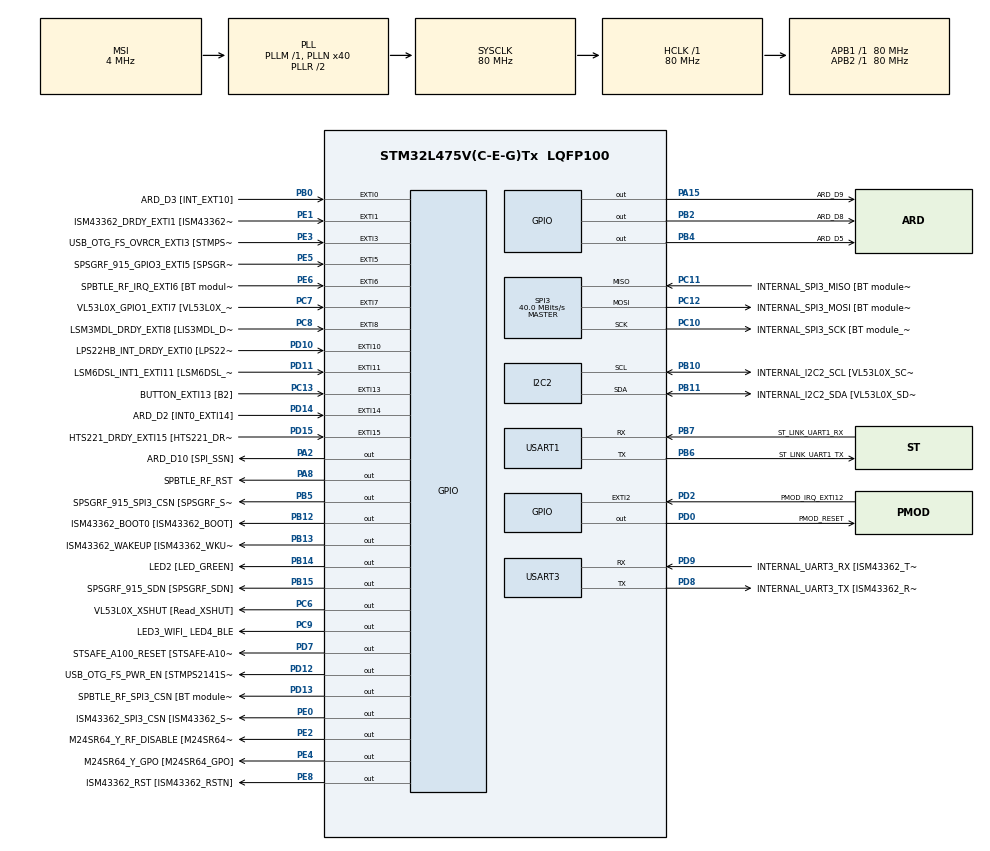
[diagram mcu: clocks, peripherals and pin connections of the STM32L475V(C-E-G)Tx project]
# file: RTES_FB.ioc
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FREERTOS.BinarySemaphores01=userButtonInterruptSemaphore,Dynamic,NULL
FREERTOS.INCLUDE_uxTaskGetStackHighWaterMark=1
FREERTOS.INCLUDE_vTaskDelay=1
FREERTOS.INCLUDE_vTaskDelayUntil=1
FREERTOS.Mutexes01=managerMutex,Dynamic,NULL
FREERTOS.Tasks01=greenLightTask,0,160,startGreenLightTask,Default,NULL,Dynamic,NULL,NULL;trackDataPrintTask,0,192,startTrackDataPrintTask,Default,NULL,Dynamic,NULL,NULL;userButtonTask,0,128,startUserButtonTask,Default,NULL,Dynamic,NULL,NULL;proximitySensorTask,0,176,startProximitySensorTask,Default,NULL,Dynamic,NULL,NULL;raceDataPrintTask,0,160,startRaceDataPrintTask,Default,NULL,Dynamic,NULL,NULL;accelerometerTask,0,160,startAccelerometerTask,Default,NULL,Dynamic,NULL,NULL;temperatureSensorTask,-1,176,startTemperatureSensorTask,Default,NULL,Dynamic,NULL,NULL;humiditySensorTask,-1,176,startHumiditySensorTask,Default,NULL,Dynamic,NULL,NULL;pressureSensorTask,-1,176,startPressureSensorTask,Default,NULL,Dynamic,NULL,NULL;buttonInterruptTask,0,128,startButtonInterruptTask,Default,NULL,Dynamic,NULL,NULL
FREERTOS.configENABLE_FPU=0
FREERTOS.configMAX_TASK_NAME_LEN=32
FREERTOS.configMINIMAL_STACK_SIZE=128
FREERTOS.configTOTAL_HEAP_SIZE=16384
FREERTOS.configUSE_COUNTING_SEMAPHORES=0
FREERTOS.configUSE_NEWLIB_REENTRANT=1
I2C2.Timing=0x10909CEC
Mcu.Family=STM32L4
Mcu.Name=STM32L475V(C-E-G)Tx
Mcu.Package=LQFP100
NVIC.EXTI15_10_IRQn=true\:5\:0\:false\:false\:true\:true\:true\:true
NVIC.EXTI9_5_IRQn=true\:5\:0\:false\:false\:true\:true\:true\:true
NVIC.PriorityGroup=NVIC_PRIORITYGROUP_4
NVIC.TIM6_DAC_IRQn=true\:15\:0\:false\:false\:true\:false\:false\:true
NVIC.TimeBase=TIM6_DAC_IRQn
NVIC.TimeBaseIP=TIM6
PA0.GPIO_Label=ARD_D1 [UART4_TX]
PA0.Signal=UART4_TX
PA1.GPIO_Label=ARD_D0 [UART4_RX]
PA1.Signal=UART4_RX
PA10.GPIO_Label=USB_OTG_FS_ID
PA10.Signal=USB_OTG_FS_ID
PA11.GPIO_Label=USB_OTG_FS_DM
PA11.Signal=USB_OTG_FS_DM
PA12.GPIO_Label=USB_OTG_FS_DP
PA12.Signal=USB_OTG_FS_DP
PA13\ (JTMS-SWDIO).GPIO_Label=SYS_JTMS_SWDIO
PA13\ (JTMS-SWDIO).Mode=Serial_Wire
PA13\ (JTMS-SWDIO).Signal=SYS_JTMS-SWDIO
PA14\ (JTCK-SWCLK).GPIO_Label=SYS_JTCK_SWCLK
PA14\ (JTCK-SWCLK).Mode=Serial_Wire
PA14\ (JTCK-SWCLK).Signal=SYS_JTCK-SWCLK
PA15\ (JTDI).GPIO_Label=ARD_D9
PA15\ (JTDI).Signal=GPIO_Output
PA2.GPIO_Label=ARD_D10 [SPI_SSN]
PA2.Signal=GPIO_Output
PA3.GPIO_Label=ARD_D4
PA3.Signal=S_TIM2_CH4
PA4.GPIO_Label=ARD_D7
PA4.Signal=ADCx_IN9
PA5.GPIO_Label=ARD_D13 [SPI1_SCK]
PA5.Signal=SPI1_SCK
PA6.GPIO_Label=ARD_D12 [SPI1_MISO]
PA6.Signal=SPI1_MISO
PA7.GPIO_Label=ARD_D11 [SPI1_MOSI]
PA7.Signal=SPI1_MOSI
PA8.GPIO_Label=SPBTLE_RF_RST
PA8.Signal=GPIO_Output
PA9.GPIO_Label=USB_OTG_FS_VBUS [STMPS2141STR_OUT]
PA9.Signal=USB_OTG_FS_VBUS
PB0.GPIO_Label=ARD_D3 [INT_EXT10]
PB0.Signal=GPXTI0
PB1.GPIO_Label=ARD_D6 [ADC1_IN6]
PB1.Signal=ADCx_IN16
PB10.GPIO_Label=INTERNAL_I2C2_SCL [VL53L0X_SCL]
PB10.GPIO_Pu=GPIO_PULLUP
PB10.Mode=I2C
PB10.Signal=I2C2_SCL
PB11.GPIO_Label=INTERNAL_I2C2_SDA [VL53L0X_SDA]
PB11.GPIO_Pu=GPIO_PULLUP
PB11.Mode=I2C
PB11.Signal=I2C2_SDA
PB12.GPIO_Label=ISM43362_BOOT0 [ISM43362_BOOT]
PB12.Signal=GPIO_Output
PB13.GPIO_Label=ISM43362_WAKEUP [ISM43362_WKUP]
PB13.Signal=GPIO_Output
PB14.GPIO_Label=LED2 [LED_GREEN]
PB14.Signal=GPIO_Output
PB15.GPIO_Label=SPSGRF_915_SDN [SPSGRF_SDN]
PB15.Signal=GPIO_Output
PB2.GPIO_Label=ARD_D8
PB2.Signal=GPIO_Output
PB3\ (JTDO-TRACESWO).GPIO_Label=SYS_JTD0_SWO
PB3\ (JTDO-TRACESWO).Signal=SYS_JTDO-SWO
PB4\ (NJTRST).GPIO_Label=ARD_D5
PB4\ (NJTRST).Signal=GPIO_Output
PB5.GPIO_Label=SPSGRF_915_SPI3_CSN [SPSGRF_SPI_CS]
PB5.PinState=GPIO_PIN_SET
PB5.Signal=GPIO_Output
PB6.GPIO_Label=ST_LINK_UART1_TX
PB6.Mode=Asynchronous
PB6.Signal=USART1_TX
PB7.GPIO_Label=ST_LINK_UART1_RX
PB7.Mode=Asynchronous
PB7.Signal=USART1_RX
PB8.GPIO_Label=ARD_D15 [I2C1_SCL]
PB8.Signal=I2C1_SCL
PB9.GPIO_Label=ARD_D14 [I2C1_SDA]
PB9.Signal=I2C1_SDA
PC0.GPIO_Label=ARD_A5 [ADC]
PC0.Signal=ADCx_IN1
PC1.GPIO_Label=ARD_A4 [ADC]
PC1.Signal=ADCx_IN2
PC10.GPIO_Label=INTERNAL_SPI3_SCK [BT module_SPI_SCLK] [ISM43362_SCK]
PC10.Mode=Full_Duplex_Master
PC10.Signal=SPI3_SCK
PC11.GPIO_Label=INTERNAL_SPI3_MISO [BT module_SPI_MISO] [ISM43362_MISO]
PC11.Mode=Full_Duplex_Master
PC11.Signal=SPI3_MISO
PC12.GPIO_Label=INTERNAL_SPI3_MOSI [BT module_SPI_MOSI] [ISM43362_MOSI]
PC12.Mode=Full_Duplex_Master
PC12.Signal=SPI3_MOSI
PC13.GPIO_Label=BUTTON_EXTI13 [B2]
PC13.GPIO_ModeDefaultEXTI=GPIO_MODE_IT_FALLING
PC13.Signal=GPXTI13
PC14-OSC32_IN\ (PC14).Mode=LSE-External-Oscillator
PC14-OSC32_IN\ (PC14).Signal=RCC_OSC32_IN
PC15-OSC32_OUT\ (PC15).Mode=LSE-External-Oscillator
PC15-OSC32_OUT\ (PC15).Signal=RCC_OSC32_OUT
PC2.GPIO_Label=ARD_A3 [ADC]
PC2.Signal=ADCx_IN3
PC3.GPIO_Label=ARD_A2 [ADC]
PC3.Signal=ADCx_IN4
PC4.GPIO_Label=ARD_A1 [ADC]
PC4.Signal=ADCx_IN13
PC5.GPIO_Label=ARD_A0 [ADC]
PC5.Signal=ADCx_IN14
PC6.GPIO_Label=VL53L0X_XSHUT [Read_XSHUT]
PC6.Signal=GPIO_Output
PC7.GPIO_Label=VL53L0X_GPIO1_EXTI7 [VL53L0X_GPIO1]
PC7.Signal=GPXTI7
PC8.GPIO_Label=LSM3MDL_DRDY_EXTI8 [LIS3MDL_DRDY]
PC8.Signal=GPXTI8
PC9.GPIO_Label=LED3_WIFI_ LED4_BLE
PC9.Signal=GPIO_Output
PD0.GPIO_Label=PMOD_RESET
PD0.Signal=GPIO_Output
PD1.GPIO_Label=PMOD_SPI2_SCK
PD1.Signal=SPI2_SCK
PD10.GPIO_Label=LPS22HB_INT_DRDY_EXTI0 [LPS22HB_INT_DRDY] 
PD10.Signal=GPXTI10
PD11.GPIO_Label=LSM6DSL_INT1_EXTI11 [LSM6DSL_INT1]
PD11.Signal=GPXTI11
PD12.GPIO_Label=USB_OTG_FS_PWR_EN [STMPS2141STR_EN]
PD12.Signal=GPIO_Output
PD13.GPIO_Label=SPBTLE_RF_SPI3_CSN [BT module_SPI_CS]
PD13.PinState=GPIO_PIN_SET
PD13.Signal=GPIO_Output
PD14.GPIO_Label=ARD_D2 [INT0_EXTI14]
PD14.Signal=GPXTI14
PD15.GPIO_Label=HTS221_DRDY_EXTI15 [HTS221_DRDY]
PD15.Signal=GPXTI15
PD2.GPIO_Label=PMOD_IRQ_EXTI12
PD2.Signal=GPXTI2
PD3.GPIO_Label=PMOD_UART2_CTS
PD3.Signal=USART2_CTS
PD4.GPIO_Label=PMOD_UART2_RTS
PD4.Signal=USART2_RTS
PD5.GPIO_Label=PMOD_UART2_TX
PD5.Signal=USART2_TX
PD6.GPIO_Label=PMOD_UART2_RX
PD6.Signal=USART2_RX
PD7.GPIO_Label=STSAFE_A100_RESET [STSAFE-A100_RESET]
PD7.Signal=GPIO_Output
PD8.GPIO_Label=INTERNAL_UART3_TX [ISM43362_RX]
PD8.Mode=Asynchronous
PD8.Signal=USART3_TX
PD9.GPIO_Label=INTERNAL_UART3_RX [ISM43362_TX]
PD9.Mode=Asynchronous
PD9.Signal=USART3_RX
PE0.GPIO_Label=ISM43362_SPI3_CSN [ISM43362_SSN]
PE0.PinState=GPIO_PIN_SET
PE0.Signal=GPIO_Output
PE1.GPIO_Label=ISM43362_DRDY_EXTI1 [ISM43362_DATARDY]
PE1.Signal=GPXTI1
PE10.GPIO_Label=QUADSPI_CLK [MX25R6435F_SCLK]
PE10.Signal=QUADSPI_CLK
PE11.GPIO_Label=QUADSPI_NCS [MX25R6435F_SCLK]
PE11.Signal=QUADSPI_NCS
PE12.GPIO_Label=OQUADSPI_BK1_IO0 [MX25R6435F_IO0]
PE12.Signal=QUADSPI_BK1_IO0
PE13.GPIO_Label=QUADSPI_BK1_IO1 [MX25R6435F_IO1]
PE13.Signal=QUADSPI_BK1_IO1
PE14.GPIO_Label=QUAD_SPI_BK1_IO2 [MX25R6435F_IO2]
PE14.Signal=QUADSPI_BK1_IO2
PE15.GPIO_Label=QUAD_SPI_BK1_IO3 [MX25R6435F_IO3]
PE15.Signal=QUADSPI_BK1_IO3
PE2.GPIO_Label=M24SR64_Y_RF_DISABLE [M24SR64_RFDIS]
PE2.Signal=GPIO_Output
PE3.GPIO_Label=USB_OTG_FS_OVRCR_EXTI3 [STMPS2141STR_FAULT]
PE3.Signal=GPXTI3
PE4.GPIO_Label=M24SR64_Y_GPO [M24SR64_GPO]
PE4.Signal=GPIO_Output
PE5.GPIO_Label=SPSGRF_915_GPIO3_EXTI5 [SPSGRF_GPIO_3]
PE5.Signal=GPXTI5
PE6.GPIO_Label=SPBTLE_RF_IRQ_EXTI6 [BT module_SPI_IRQ]
PE6.Signal=GPXTI6
PE7.GPIO_Label=DFSDM1_DATIN2 [MP34DT01_DOUT]
PE7.Signal=S_DATAIN2DFSDM1
PE8.GPIO_Label=ISM43362_RST [ISM43362_RSTN]
PE8.Signal=GPIO_Output
PE9.GPIO_Label=DFSDM1_CKOUT [MP34DT01_CLK]
PE9.Signal=S_CKOUTDFSDM1
ProjectManager.HeapSize=0x200
ProjectManager.StackSize=0x400
ProjectManager.TargetToolchain=STM32CubeIDE
RCC.ADCFreq_Value=48000000
RCC.AHBFreq_Value=80000000
RCC.APB1Freq_Value=80000000
RCC.APB1TimFreq_Value=80000000
RCC.APB2Freq_Value=80000000
RCC.APB2TimFreq_Value=80000000
RCC.CortexFreq_Value=80000000
RCC.HCLKFreq_Value=80000000
RCC.HSE_VALUE=8000000
RCC.HSI_VALUE=16000000
RCC.MSI_VALUE=4000000
RCC.PLLN=40
RCC.PLLSAI1N=24
RCC.SYSCLKFreq_VALUE=80000000
RCC.SYSCLKSource=RCC_SYSCLKSOURCE_PLLCLK
RCC.USBFreq_Value=48000000
RCC.VCOOutputFreq_Value=160000000
SH.ADCx_IN1.0=ADC1_IN1
SH.ADCx_IN13.0=ADC1_IN13
SH.ADCx_IN14.0=ADC1_IN14
SH.ADCx_IN16.0=ADC1_IN16
SH.ADCx_IN2.0=ADC1_IN2
SH.ADCx_IN3.0=ADC1_IN3
SH.ADCx_IN4.0=ADC1_IN4
SH.ADCx_IN9.0=ADC1_IN9
SH.S_CKOUTDFSDM1.0=DFSDM1_CKOUT
SH.S_DATAIN2DFSDM1.0=DFSDM1_DATIN2
SH.S_TIM2_CH4.0=TIM2_CH4
SPI3.CalculateBaudRate=40.0 MBits/s
SPI3.Direction=SPI_DIRECTION_2LINES
SPI3.Mode=SPI_MODE_MASTER
SPI3.VirtualType=VM_MASTER
USART1.VirtualMode-Asynchronous=VM_ASYNC
USART3.VirtualMode-Asynchronous=VM_ASYNC
VP_FREERTOS_VS_CMSIS_V1.Mode=CMSIS_V1
VP_SYS_VS_tim6.Mode=TIM6
board=B-L475E-IOT01A2

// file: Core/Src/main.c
/* USER CODE BEGIN Header */
/**
 ******************************************************************************
 * @file           : main.c
 * @brief          : Main program body
 ******************************************************************************
 * @attention
 *
 * <h2><center>&copy; Copyright (c) 2021 STMicroelectronics.
 * All rights reserved.</center></h2>
 *
 * This software component is licensed by ST under Ultimate Liberty license
 * SLA0044, the "License"; You may not use this file except in compliance with
 * the License. You may obtain a copy of the License at:
 *                             www.st.com/SLA0044
 *
 ******************************************************************************
 */
/* USER CODE END Header */
#include "main.h"
#include "cmsis_os.h"

/* USER CODE BEGIN Includes */
#include "stm32l475e_iot01.h"
#include "stm32l475e_iot01_tsensor.h"
#include "stm32l475e_iot01_hsensor.h"
#include "stm32l475e_iot01_psensor.h"
#include "stm32l475e_iot01_motion_sensors.h"
#include <math.h>
#include <stdio.h>
#include <time.h>
#include "track_utils.h"
/* USER CODE END Includes */

/* USER CODE BEGIN PD */
#define INSTANCE_GYROSCOPE_ACCELEROMETER 0
#define INSTANCE_MAGNETOMETER 1
#define OS_DELAY_STANDARD 300
#define MUTEX_WAIT_TIMEOUT osWaitForever
#define WAITING_FOR_GREEN_LIGHT 0
#define RACING 1
#define PIT_STOP 2
/* USER CODE END PD */

I2C_HandleTypeDef hi2c2;

SPI_HandleTypeDef hspi3;

UART_HandleTypeDef huart1;
UART_HandleTypeDef huart3;

osThreadId greenLightTaskHandle;
osThreadId trackDataPrintTaskHandle;
osThreadId userButtonTaskHandle;
osThreadId proximitySensorTaskHandle;
osThreadId raceDataPrintTaskHandle;
osThreadId accelerometerTaskHandle;
osThreadId temperatureSensorTaskHandle;
osThreadId humiditySensorTaskHandle;
osThreadId pressureSensorTaskHandle;
osThreadId buttonInterruptTaskHandle;
osMutexId managerMutexHandle;
osSemaphoreId userButtonInterruptSemaphoreHandle;
/* USER CODE BEGIN PV */

struct manager_t {

	float temperature_value;
	uint8_t humidity_value;
	int pressure_value;
	BSP_MOTION_SENSOR_Axes_t  accelerometer_value;
	uint16_t proximity;
	uint8_t status;
	uint8_t pit_stop_executions;
	uint8_t waiting_for_race_director_executions;
	uint8_t race_executions;
	uint8_t opponent_executions;
	int last_opponent_value;

} manager;

/* USER CODE END PV */

void SystemClock_Config(void);
static void MX_GPIO_Init(void);
static void MX_I2C2_Init(void);
static void MX_SPI3_Init(void);
static void MX_USART1_UART_Init(void);
static void MX_USART3_UART_Init(void);
void startGreenLightTask(void const * argument);
void startTrackDataPrintTask(void const * argument);
void startUserButtonTask(void const * argument);
void startProximitySensorTask(void const * argument);
void startRaceDataPrintTask(void const * argument);
void startAccelerometerTask(void const * argument);
void startTemperatureSensorTask(void const * argument);
void startHumiditySensorTask(void const * argument);
void startPressureSensorTask(void const * argument);
void startButtonInterruptTask(void const * argument);

/* USER CODE BEGIN 0 */
int _write(int file, char *ptr, int len)
{
	HAL_UART_Transmit(&huart1,(uint8_t *)ptr,len,10);
	return len;
}

/* USER CODE END 0 */

int main(void)
{

	/* MCU Configuration--------------------------------------------------------*/

	/* Reset of all peripherals, Initializes the Flash interface and the Systick. */
	HAL_Init();

	/* Configure the system clock */
	SystemClock_Config();

	/* Initialize all configured peripherals */
	MX_GPIO_Init();
	MX_I2C2_Init();
	MX_SPI3_Init();
	MX_USART1_UART_Init();
	MX_USART3_UART_Init();
	/* USER CODE BEGIN 2 */

	//Proximity

	VL53L0X_PROXIMITY_Init();

	//User button
	BSP_PB_Init(BUTTON_USER, BUTTON_MODE_GPIO);

	//Temperature
	BSP_TSENSOR_Init();

	//	//Humidity
	BSP_HSENSOR_Init();

	//	//Pressure
	BSP_PSENSOR_Init();

	//Motion sensors

	//BSP_MOTION_SENSOR_Init(INSTANCE_GYROSCOPE_ACCELEROMETER, MOTION_GYRO);
	BSP_MOTION_SENSOR_Init(INSTANCE_GYROSCOPE_ACCELEROMETER, MOTION_ACCELERO);

	//BSP_MOTION_SENSOR_Enable(INSTANCE_GYROSCOPE_ACCELEROMETER, MOTION_GYRO);
	BSP_MOTION_SENSOR_Enable(INSTANCE_GYROSCOPE_ACCELEROMETER, MOTION_ACCELERO);

	//Struct elements initialization

	manager.humidity_value = 0;
	manager.pressure_value = 0;
	manager.temperature_value = 0;
	manager.proximity = 0;
	manager.status = WAITING_FOR_GREEN_LIGHT;
	manager.pit_stop_executions = 0;
	manager.waiting_for_race_director_executions = 0;
	manager.race_executions = 0;
	manager.last_opponent_value = -1;
	manager.opponent_executions = 0;

	/* USER CODE END 2 */

	/* Create the mutex(es) */
	/* definition and creation of managerMutex */
	osMutexDef(managerMutex);
	managerMutexHandle = osMutexCreate(osMutex(managerMutex));

	/* Create the semaphores(s) */
	/* definition and creation of userButtonInterruptSemaphore */
	osSemaphoreDef(userButtonInterruptSemaphore);
	userButtonInterruptSemaphoreHandle = osSemaphoreCreate(osSemaphore(userButtonInterruptSemaphore), 1);

	/* USER CODE BEGIN RTOS_SEMAPHORES */

	osSemaphoreWait(userButtonInterruptSemaphoreHandle, MUTEX_WAIT_TIMEOUT);
	/* USER CODE END RTOS_SEMAPHORES */

	/* Create the thread(s) */
	/* definition and creation of greenLightTask */
	osThreadDef(greenLightTask, startGreenLightTask, osPriorityNormal, 0, 160);
	greenLightTaskHandle = osThreadCreate(osThread(greenLightTask), NULL);

	/* definition and creation of trackDataPrintTask */
	osThreadDef(trackDataPrintTask, startTrackDataPrintTask, osPriorityNormal, 0, 192);
	trackDataPrintTaskHandle = osThreadCreate(osThread(trackDataPrintTask), NULL);

	/* definition and creation of userButtonTask */
	osThreadDef(userButtonTask, startUserButtonTask, osPriorityNormal, 0, 128);
	userButtonTaskHandle = osThreadCreate(osThread(userButtonTask), NULL);

	/* definition and creation of proximitySensorTask */
	osThreadDef(proximitySensorTask, startProximitySensorTask, osPriorityNormal, 0, 176);
	proximitySensorTaskHandle = osThreadCreate(osThread(proximitySensorTask), NULL);

	/* definition and creation of raceDataPrintTask */
	osThreadDef(raceDataPrintTask, startRaceDataPrintTask, osPriorityNormal, 0, 160);
	raceDataPrintTaskHandle = osThreadCreate(osThread(raceDataPrintTask), NULL);

	/* definition and creation of accelerometerTask */
	osThreadDef(accelerometerTask, startAccelerometerTask, osPriorityNormal, 0, 160);
	accelerometerTaskHandle = osThreadCreate(osThread(accelerometerTask), NULL);

	/* definition and creation of temperatureSensorTask */
	osThreadDef(temperatureSensorTask, startTemperatureSensorTask, osPriorityBelowNormal, 0, 176);
	temperatureSensorTaskHandle = osThreadCreate(osThread(temperatureSensorTask), NULL);

	/* definition and creation of humiditySensorTask */
	osThreadDef(humiditySensorTask, startHumiditySensorTask, osPriorityBelowNormal, 0, 176);
	humiditySensorTaskHandle = osThreadCreate(osThread(humiditySensorTask), NULL);

	/* definition and creation of pressureSensorTask */
	osThreadDef(pressureSensorTask, startPressureSensorTask, osPriorityBelowNormal, 0, 176);
	pressureSensorTaskHandle = osThreadCreate(osThread(pressureSensorTask), NULL);

	/* definition and creation of buttonInterruptTask */
	osThreadDef(buttonInterruptTask, startButtonInterruptTask, osPriorityNormal, 0, 128);
	buttonInterruptTaskHandle = osThreadCreate(osThread(buttonInterruptTask), NULL);

	/* Start scheduler */
	osKernelStart();

	/* We should never get here as control is now taken by the scheduler */
	/* Infinite loop */
	while (1)
	{

	}
}

void SystemClock_Config(void)
{
	RCC_OscInitTypeDef RCC_OscInitStruct = {0};
	RCC_ClkInitTypeDef RCC_ClkInitStruct = {0};

	/** Configure the main internal regulator output voltage
	 */
	if (HAL_PWREx_ControlVoltageScaling(PWR_REGULATOR_VOLTAGE_SCALE1) != HAL_OK)
	{
		Error_Handler();
	}
	/** Configure LSE Drive Capability
	 */
	HAL_PWR_EnableBkUpAccess();
	__HAL_RCC_LSEDRIVE_CONFIG(RCC_LSEDRIVE_LOW);
	/** Initializes the RCC Oscillators according to the specified parameters
	 * in the RCC_OscInitTypeDef structure.
	 */
	RCC_OscInitStruct.OscillatorType = RCC_OSCILLATORTYPE_LSE|RCC_OSCILLATORTYPE_MSI;
	RCC_OscInitStruct.LSEState = RCC_LSE_ON;
	RCC_OscInitStruct.MSIState = RCC_MSI_ON;
	RCC_OscInitStruct.MSICalibrationValue = 0;
	RCC_OscInitStruct.MSIClockRange = RCC_MSIRANGE_6;
	RCC_OscInitStruct.PLL.PLLState = RCC_PLL_ON;
	RCC_OscInitStruct.PLL.PLLSource = RCC_PLLSOURCE_MSI;
	RCC_OscInitStruct.PLL.PLLM = 1;
	RCC_OscInitStruct.PLL.PLLN = 40;
	RCC_OscInitStruct.PLL.PLLP = RCC_PLLP_DIV7;
	RCC_OscInitStruct.PLL.PLLQ = RCC_PLLQ_DIV2;
	RCC_OscInitStruct.PLL.PLLR = RCC_PLLR_DIV2;
	if (HAL_RCC_OscConfig(&RCC_OscInitStruct) != HAL_OK)
	{
		Error_Handler();
	}
	/** Initializes the CPU, AHB and APB buses clocks
	 */
	RCC_ClkInitStruct.ClockType = RCC_CLOCKTYPE_HCLK|RCC_CLOCKTYPE_SYSCLK
			|RCC_CLOCKTYPE_PCLK1|RCC_CLOCKTYPE_PCLK2;
	RCC_ClkInitStruct.SYSCLKSource = RCC_SYSCLKSOURCE_PLLCLK;
	RCC_ClkInitStruct.AHBCLKDivider = RCC_SYSCLK_DIV1;
	RCC_ClkInitStruct.APB1CLKDivider = RCC_HCLK_DIV1;
	RCC_ClkInitStruct.APB2CLKDivider = RCC_HCLK_DIV1;

	if (HAL_RCC_ClockConfig(&RCC_ClkInitStruct, FLASH_LATENCY_4) != HAL_OK)
	{
		Error_Handler();
	}
	/** Enable MSI Auto calibration
	 */
	HAL_RCCEx_EnableMSIPLLMode();
}

static void MX_I2C2_Init(void)
{

	hi2c2.Instance = I2C2;
	hi2c2.Init.Timing = 0x10909CEC;
	hi2c2.Init.OwnAddress1 = 0;
	hi2c2.Init.AddressingMode = I2C_ADDRESSINGMODE_7BIT;
	hi2c2.Init.DualAddressMode = I2C_DUALADDRESS_DISABLE;
	hi2c2.Init.OwnAddress2 = 0;
	hi2c2.Init.OwnAddress2Masks = I2C_OA2_NOMASK;
	hi2c2.Init.GeneralCallMode = I2C_GENERALCALL_DISABLE;
	hi2c2.Init.NoStretchMode = I2C_NOSTRETCH_DISABLE;
	if (HAL_I2C_Init(&hi2c2) != HAL_OK)
	{
		Error_Handler();
	}
	/** Configure Analogue filter
	 */
	if (HAL_I2CEx_ConfigAnalogFilter(&hi2c2, I2C_ANALOGFILTER_ENABLE) != HAL_OK)
	{
		Error_Handler();
	}
	/** Configure Digital filter
	 */
	if (HAL_I2CEx_ConfigDigitalFilter(&hi2c2, 0) != HAL_OK)
	{
		Error_Handler();
	}

}

static void MX_SPI3_Init(void)
{

	/* SPI3 parameter configuration*/
	hspi3.Instance = SPI3;
	hspi3.Init.Mode = SPI_MODE_MASTER;
	hspi3.Init.Direction = SPI_DIRECTION_2LINES;
	hspi3.Init.DataSize = SPI_DATASIZE_4BIT;
	hspi3.Init.CLKPolarity = SPI_POLARITY_LOW;
	hspi3.Init.CLKPhase = SPI_PHASE_1EDGE;
	hspi3.Init.NSS = SPI_NSS_SOFT;
	hspi3.Init.BaudRatePrescaler = SPI_BAUDRATEPRESCALER_2;
	hspi3.Init.FirstBit = SPI_FIRSTBIT_MSB;
	hspi3.Init.TIMode = SPI_TIMODE_DISABLE;
	hspi3.Init.CRCCalculation = SPI_CRCCALCULATION_DISABLE;
	hspi3.Init.CRCPolynomial = 7;
	hspi3.Init.CRCLength = SPI_CRC_LENGTH_DATASIZE;
	hspi3.Init.NSSPMode = SPI_NSS_PULSE_ENABLE;
	if (HAL_SPI_Init(&hspi3) != HAL_OK)
	{
		Error_Handler();
	}

}

static void MX_USART1_UART_Init(void)
{

	huart1.Instance = USART1;
	huart1.Init.BaudRate = 115200;
	huart1.Init.WordLength = UART_WORDLENGTH_8B;
	huart1.Init.StopBits = UART_STOPBITS_1;
	huart1.Init.Parity = UART_PARITY_NONE;
	huart1.Init.Mode = UART_MODE_TX_RX;
	huart1.Init.HwFlowCtl = UART_HWCONTROL_NONE;
	huart1.Init.OverSampling = UART_OVERSAMPLING_16;
	huart1.Init.OneBitSampling = UART_ONE_BIT_SAMPLE_DISABLE;
	huart1.AdvancedInit.AdvFeatureInit = UART_ADVFEATURE_NO_INIT;
	if (HAL_UART_Init(&huart1) != HAL_OK)
	{
		Error_Handler();
	}

}

static void MX_USART3_UART_Init(void)
{

	huart3.Instance = USART3;
	huart3.Init.BaudRate = 115200;
	huart3.Init.WordLength = UART_WORDLENGTH_8B;
	huart3.Init.StopBits = UART_STOPBITS_1;
	huart3.Init.Parity = UART_PARITY_NONE;
	huart3.Init.Mode = UART_MODE_TX_RX;
	huart3.Init.HwFlowCtl = UART_HWCONTROL_NONE;
	huart3.Init.OverSampling = UART_OVERSAMPLING_16;
	huart3.Init.OneBitSampling = UART_ONE_BIT_SAMPLE_DISABLE;
	huart3.AdvancedInit.AdvFeatureInit = UART_ADVFEATURE_NO_INIT;
	if (HAL_UART_Init(&huart3) != HAL_OK)
	{
		Error_Handler();
	}

}

static void MX_GPIO_Init(void)
{
	GPIO_InitTypeDef GPIO_InitStruct = {0};

	/* GPIO Ports Clock Enable */
	__HAL_RCC_GPIOE_CLK_ENABLE();
	__HAL_RCC_GPIOC_CLK_ENABLE();
	__HAL_RCC_GPIOA_CLK_ENABLE();
	__HAL_RCC_GPIOB_CLK_ENABLE();
	__HAL_RCC_GPIOD_CLK_ENABLE();

	/*Configure GPIO pin Output Level */
	HAL_GPIO_WritePin(GPIOE, M24SR64_Y_RF_DISABLE_Pin|M24SR64_Y_GPO_Pin|ISM43362_RST_Pin, GPIO_PIN_RESET);

	/*Configure GPIO pin Output Level */
	HAL_GPIO_WritePin(GPIOA, ARD_D10_Pin|SPBTLE_RF_RST_Pin|ARD_D9_Pin, GPIO_PIN_RESET);

	/*Configure GPIO pin Output Level */
	HAL_GPIO_WritePin(GPIOB, ARD_D8_Pin|ISM43362_BOOT0_Pin|ISM43362_WAKEUP_Pin|LED2_Pin
			|SPSGRF_915_SDN_Pin|ARD_D5_Pin, GPIO_PIN_RESET);

	/*Configure GPIO pin Output Level */
	HAL_GPIO_WritePin(GPIOD, USB_OTG_FS_PWR_EN_Pin|PMOD_RESET_Pin|STSAFE_A100_RESET_Pin, GPIO_PIN_RESET);

	/*Configure GPIO pin Output Level */
	HAL_GPIO_WritePin(SPBTLE_RF_SPI3_CSN_GPIO_Port, SPBTLE_RF_SPI3_CSN_Pin, GPIO_PIN_SET);

	/*Configure GPIO pin Output Level */
	HAL_GPIO_WritePin(GPIOC, VL53L0X_XSHUT_Pin|LED3_WIFI__LED4_BLE_Pin, GPIO_PIN_RESET);

	/*Configure GPIO pin Output Level */
	HAL_GPIO_WritePin(SPSGRF_915_SPI3_CSN_GPIO_Port, SPSGRF_915_SPI3_CSN_Pin, GPIO_PIN_SET);

	/*Configure GPIO pin Output Level */
	HAL_GPIO_WritePin(ISM43362_SPI3_CSN_GPIO_Port, ISM43362_SPI3_CSN_Pin, GPIO_PIN_SET);

	/*Configure GPIO pins : M24SR64_Y_RF_DISABLE_Pin M24SR64_Y_GPO_Pin ISM43362_RST_Pin ISM43362_SPI3_CSN_Pin */
	GPIO_InitStruct.Pin = M24SR64_Y_RF_DISABLE_Pin|M24SR64_Y_GPO_Pin|ISM43362_RST_Pin|ISM43362_SPI3_CSN_Pin;
	GPIO_InitStruct.Mode = GPIO_MODE_OUTPUT_PP;
	GPIO_InitStruct.Pull = GPIO_NOPULL;
	GPIO_InitStruct.Speed = GPIO_SPEED_FREQ_LOW;
	HAL_GPIO_Init(GPIOE, &GPIO_InitStruct);

	/*Configure GPIO pins : USB_OTG_FS_OVRCR_EXTI3_Pin SPSGRF_915_GPIO3_EXTI5_Pin SPBTLE_RF_IRQ_EXTI6_Pin ISM43362_DRDY_EXTI1_Pin */
	GPIO_InitStruct.Pin = USB_OTG_FS_OVRCR_EXTI3_Pin|SPSGRF_915_GPIO3_EXTI5_Pin|SPBTLE_RF_IRQ_EXTI6_Pin|ISM43362_DRDY_EXTI1_Pin;
	GPIO_InitStruct.Mode = GPIO_MODE_IT_RISING;
	GPIO_InitStruct.Pull = GPIO_NOPULL;
	HAL_GPIO_Init(GPIOE, &GPIO_InitStruct);

	/*Configure GPIO pin : BUTTON_EXTI13_Pin */
	GPIO_InitStruct.Pin = BUTTON_EXTI13_Pin;
	GPIO_InitStruct.Mode = GPIO_MODE_IT_FALLING;
	GPIO_InitStruct.Pull = GPIO_NOPULL;
	HAL_GPIO_Init(BUTTON_EXTI13_GPIO_Port, &GPIO_InitStruct);

	/*Configure GPIO pins : ARD_A5_Pin ARD_A4_Pin ARD_A3_Pin ARD_A2_Pin
                           ARD_A1_Pin ARD_A0_Pin */
	GPIO_InitStruct.Pin = ARD_A5_Pin|ARD_A4_Pin|ARD_A3_Pin|ARD_A2_Pin
			|ARD_A1_Pin|ARD_A0_Pin;
	GPIO_InitStruct.Mode = GPIO_MODE_ANALOG_ADC_CONTROL;
	GPIO_InitStruct.Pull = GPIO_NOPULL;
	HAL_GPIO_Init(GPIOC, &GPIO_InitStruct);

	/*Configure GPIO pins : ARD_D1_Pin ARD_D0_Pin */
	GPIO_InitStruct.Pin = ARD_D1_Pin|ARD_D0_Pin;
	GPIO_InitStruct.Mode = GPIO_MODE_AF_PP;
	GPIO_InitStruct.Pull = GPIO_NOPULL;
	GPIO_InitStruct.Speed = GPIO_SPEED_FREQ_VERY_HIGH;
	GPIO_InitStruct.Alternate = GPIO_AF8_UART4;
	HAL_GPIO_Init(GPIOA, &GPIO_InitStruct);

	/*Configure GPIO pins : ARD_D10_Pin SPBTLE_RF_RST_Pin ARD_D9_Pin */
	GPIO_InitStruct.Pin = ARD_D10_Pin|SPBTLE_RF_RST_Pin|ARD_D9_Pin;
	GPIO_InitStruct.Mode = GPIO_MODE_OUTPUT_PP;
	GPIO_InitStruct.Pull = GPIO_NOPULL;
	GPIO_InitStruct.Speed = GPIO_SPEED_FREQ_LOW;
	HAL_GPIO_Init(GPIOA, &GPIO_InitStruct);

	/*Configure GPIO pin : ARD_D4_Pin */
	GPIO_InitStruct.Pin = ARD_D4_Pin;
	GPIO_InitStruct.Mode = GPIO_MODE_AF_PP;
	GPIO_InitStruct.Pull = GPIO_NOPULL;
	GPIO_InitStruct.Speed = GPIO_SPEED_FREQ_LOW;
	GPIO_InitStruct.Alternate = GPIO_AF1_TIM2;
	HAL_GPIO_Init(ARD_D4_GPIO_Port, &GPIO_InitStruct);

	/*Configure GPIO pin : ARD_D7_Pin */
	GPIO_InitStruct.Pin = ARD_D7_Pin;
	GPIO_InitStruct.Mode = GPIO_MODE_ANALOG_ADC_CONTROL;
	GPIO_InitStruct.Pull = GPIO_NOPULL;
	HAL_GPIO_Init(ARD_D7_GPIO_Port, &GPIO_InitStruct);

	/*Configure GPIO pins : ARD_D13_Pin ARD_D12_Pin ARD_D11_Pin */
	GPIO_InitStruct.Pin = ARD_D13_Pin|ARD_D12_Pin|ARD_D11_Pin;
	GPIO_InitStruct.Mode = GPIO_MODE_AF_PP;
	GPIO_InitStruct.Pull = GPIO_NOPULL;
	GPIO_InitStruct.Speed = GPIO_SPEED_FREQ_VERY_HIGH;
	GPIO_InitStruct.Alternate = GPIO_AF5_SPI1;
	HAL_GPIO_Init(GPIOA, &GPIO_InitStruct);

	/*Configure GPIO pin : ARD_D3_Pin */
	GPIO_InitStruct.Pin = ARD_D3_Pin;
	GPIO_InitStruct.Mode = GPIO_MODE_IT_RISING;
	GPIO_InitStruct.Pull = GPIO_NOPULL;
	HAL_GPIO_Init(ARD_D3_GPIO_Port, &GPIO_InitStruct);

	/*Configure GPIO pin : ARD_D6_Pin */
	GPIO_InitStruct.Pin = ARD_D6_Pin;
	GPIO_InitStruct.Mode = GPIO_MODE_ANALOG_ADC_CONTROL;
	GPIO_InitStruct.Pull = GPIO_NOPULL;
	HAL_GPIO_Init(ARD_D6_GPIO_Port, &GPIO_InitStruct);

	/*Configure GPIO pins : ARD_D8_Pin ISM43362_BOOT0_Pin ISM43362_WAKEUP_Pin LED2_Pin
                           SPSGRF_915_SDN_Pin ARD_D5_Pin SPSGRF_915_SPI3_CSN_Pin */
	GPIO_InitStruct.Pin = ARD_D8_Pin|ISM43362_BOOT0_Pin|ISM43362_WAKEUP_Pin|LED2_Pin
			|SPSGRF_915_SDN_Pin|ARD_D5_Pin|SPSGRF_915_SPI3_CSN_Pin;
	GPIO_InitStruct.Mode = GPIO_MODE_OUTPUT_PP;
	GPIO_InitStruct.Pull = GPIO_NOPULL;
	GPIO_InitStruct.Speed = GPIO_SPEED_FREQ_LOW;
	HAL_GPIO_Init(GPIOB, &GPIO_InitStruct);

	/*Configure GPIO pins : DFSDM1_DATIN2_Pin DFSDM1_CKOUT_Pin */
	GPIO_InitStruct.Pin = DFSDM1_DATIN2_Pin|DFSDM1_CKOUT_Pin;
	GPIO_InitStruct.Mode = GPIO_MODE_AF_PP;
	GPIO_InitStruct.Pull = GPIO_NOPULL;
	GPIO_InitStruct.Speed = GPIO_SPEED_FREQ_LOW;
	GPIO_InitStruct.Alternate = GPIO_AF6_DFSDM1;
	HAL_GPIO_Init(GPIOE, &GPIO_InitStruct);

	/*Configure GPIO pins : QUADSPI_CLK_Pin QUADSPI_NCS_Pin OQUADSPI_BK1_IO0_Pin QUADSPI_BK1_IO1_Pin
                           QUAD_SPI_BK1_IO2_Pin QUAD_SPI_BK1_IO3_Pin */
	GPIO_InitStruct.Pin = QUADSPI_CLK_Pin|QUADSPI_NCS_Pin|OQUADSPI_BK1_IO0_Pin|QUADSPI_BK1_IO1_Pin
			|QUAD_SPI_BK1_IO2_Pin|QUAD_SPI_BK1_IO3_Pin;
	GPIO_InitStruct.Mode = GPIO_MODE_AF_PP;
	GPIO_InitStruct.Pull = GPIO_NOPULL;
	GPIO_InitStruct.Speed = GPIO_SPEED_FREQ_VERY_HIGH;
	GPIO_InitStruct.Alternate = GPIO_AF10_QUADSPI;
	HAL_GPIO_Init(GPIOE, &GPIO_InitStruct);

	/*Configure GPIO pins : LPS22HB_INT_DRDY_EXTI0_Pin LSM6DSL_INT1_EXTI11_Pin ARD_D2_Pin HTS221_DRDY_EXTI15_Pin
                           PMOD_IRQ_EXTI12_Pin */
	GPIO_InitStruct.Pin = LPS22HB_INT_DRDY_EXTI0_Pin|LSM6DSL_INT1_EXTI11_Pin|ARD_D2_Pin|HTS221_DRDY_EXTI15_Pin
			|PMOD_IRQ_EXTI12_Pin;
	GPIO_InitStruct.Mode = GPIO_MODE_IT_RISING;
	GPIO_InitStruct.Pull = GPIO_NOPULL;
	HAL_GPIO_Init(GPIOD, &GPIO_InitStruct);

	/*Configure GPIO pins : USB_OTG_FS_PWR_EN_Pin SPBTLE_RF_SPI3_CSN_Pin PMOD_RESET_Pin STSAFE_A100_RESET_Pin */
	GPIO_InitStruct.Pin = USB_OTG_FS_PWR_EN_Pin|SPBTLE_RF_SPI3_CSN_Pin|PMOD_RESET_Pin|STSAFE_A100_RESET_Pin;
	GPIO_InitStruct.Mode = GPIO_MODE_OUTPUT_PP;
	GPIO_InitStruct.Pull = GPIO_NOPULL;
	GPIO_InitStruct.Speed = GPIO_SPEED_FREQ_LOW;
	HAL_GPIO_Init(GPIOD, &GPIO_InitStruct);

	/*Configure GPIO pins : VL53L0X_XSHUT_Pin LED3_WIFI__LED4_BLE_Pin */
	GPIO_InitStruct.Pin = VL53L0X_XSHUT_Pin|LED3_WIFI__LED4_BLE_Pin;
	GPIO_InitStruct.Mode = GPIO_MODE_OUTPUT_PP;
	GPIO_InitStruct.Pull = GPIO_NOPULL;
	GPIO_InitStruct.Speed = GPIO_SPEED_FREQ_LOW;
	HAL_GPIO_Init(GPIOC, &GPIO_InitStruct);

	/*Configure GPIO pins : VL53L0X_GPIO1_EXTI7_Pin LSM3MDL_DRDY_EXTI8_Pin */
	GPIO_InitStruct.Pin = VL53L0X_GPIO1_EXTI7_Pin|LSM3MDL_DRDY_EXTI8_Pin;
	GPIO_InitStruct.Mode = GPIO_MODE_IT_RISING;
	GPIO_InitStruct.Pull = GPIO_NOPULL;
	HAL_GPIO_Init(GPIOC, &GPIO_InitStruct);

	/*Configure GPIO pin : USB_OTG_FS_VBUS_Pin */
	GPIO_InitStruct.Pin = USB_OTG_FS_VBUS_Pin;
	GPIO_InitStruct.Mode = GPIO_MODE_INPUT;
	GPIO_InitStruct.Pull = GPIO_NOPULL;
	HAL_GPIO_Init(USB_OTG_FS_VBUS_GPIO_Port, &GPIO_InitStruct);

	/*Configure GPIO pins : USB_OTG_FS_ID_Pin USB_OTG_FS_DM_Pin USB_OTG_FS_DP_Pin */
	GPIO_InitStruct.Pin = USB_OTG_FS_ID_Pin|USB_OTG_FS_DM_Pin|USB_OTG_FS_DP_Pin;
	GPIO_InitStruct.Mode = GPIO_MODE_AF_PP;
	GPIO_InitStruct.Pull = GPIO_NOPULL;
	GPIO_InitStruct.Speed = GPIO_SPEED_FREQ_VERY_HIGH;
	GPIO_InitStruct.Alternate = GPIO_AF10_OTG_FS;
	HAL_GPIO_Init(GPIOA, &GPIO_InitStruct);

	/*Configure GPIO pin : PMOD_SPI2_SCK_Pin */
	GPIO_InitStruct.Pin = PMOD_SPI2_SCK_Pin;
	GPIO_InitStruct.Mode = GPIO_MODE_AF_PP;
	GPIO_InitStruct.Pull = GPIO_NOPULL;
	GPIO_InitStruct.Speed = GPIO_SPEED_FREQ_VERY_HIGH;
	GPIO_InitStruct.Alternate = GPIO_AF5_SPI2;
	HAL_GPIO_Init(PMOD_SPI2_SCK_GPIO_Port, &GPIO_InitStruct);

	/*Configure GPIO pins : PMOD_UART2_CTS_Pin PMOD_UART2_RTS_Pin PMOD_UART2_TX_Pin PMOD_UART2_RX_Pin */
	GPIO_InitStruct.Pin = PMOD_UART2_CTS_Pin|PMOD_UART2_RTS_Pin|PMOD_UART2_TX_Pin|PMOD_UART2_RX_Pin;
	GPIO_InitStruct.Mode = GPIO_MODE_AF_PP;
	GPIO_InitStruct.Pull = GPIO_NOPULL;
	GPIO_InitStruct.Speed = GPIO_SPEED_FREQ_VERY_HIGH;
	GPIO_InitStruct.Alternate = GPIO_AF7_USART2;
	HAL_GPIO_Init(GPIOD, &GPIO_InitStruct);

	/*Configure GPIO pins : ARD_D15_Pin ARD_D14_Pin */
	GPIO_InitStruct.Pin = ARD_D15_Pin|ARD_D14_Pin;
	GPIO_InitStruct.Mode = GPIO_MODE_AF_OD;
	GPIO_InitStruct.Pull = GPIO_NOPULL;
	GPIO_InitStruct.Speed = GPIO_SPEED_FREQ_VERY_HIGH;
	GPIO_InitStruct.Alternate = GPIO_AF4_I2C1;
	HAL_GPIO_Init(GPIOB, &GPIO_InitStruct);

	/* EXTI interrupt init*/
	HAL_NVIC_SetPriority(EXTI9_5_IRQn, 5, 0);
	HAL_NVIC_EnableIRQ(EXTI9_5_IRQn);

	HAL_NVIC_SetPriority(EXTI15_10_IRQn, 5, 0);
	HAL_NVIC_EnableIRQ(EXTI15_10_IRQn);

}

/* USER CODE BEGIN 4 */
void HAL_GPIO_EXTI_Callback(uint16_t GPIO_Pin) {

	//Questa è la callback che gestisce la pressione del pulsante USER

	if (GPIO_Pin == USER_BUTTON_PIN) {

		osSemaphoreRelease(userButtonInterruptSemaphoreHandle);
	}
}

/* USER CODE END 4 */

void startGreenLightTask(void const * argument)
{
	/* USER CODE BEGIN 5 */

	//Questo è il task che gestisce il LED 2 quando la gara è in corso, facendolo lampeggiare ogni OS_DELAY_STANDARD ms

	TickType_t last_tick_time = xTaskGetTickCount();

	/* Infinite loop */
	for(;;)
	{
		osMutexWait(managerMutexHandle, MUTEX_WAIT_TIMEOUT);

		if (manager.status != WAITING_FOR_GREEN_LIGHT) {
			BSP_LED_Toggle(LED2);
		}

		osMutexRelease(managerMutexHandle);

		osDelayUntil(&last_tick_time, OS_DELAY_STANDARD);
	}
	/* USER CODE END 5 */
}

void startTrackDataPrintTask(void const * argument)
{
	/* USER CODE BEGIN startTrackDataPrintTask */

	//Questo è il task che gestisce la stampa dei dati relativi alla pista, ovvero la temperatura, l'umidità e la pressione
	//I dati vengono stampati ogni 40 esecuzioni del task che stampa l'informazione di inizio gara

	TickType_t last_tick_time = xTaskGetTickCount();

	/* Infinite loop */
	for(;;)
	{
		osMutexWait(managerMutexHandle, MUTEX_WAIT_TIMEOUT);

		if (manager.status == WAITING_FOR_GREEN_LIGHT
				&& manager.temperature_value > 0
				&& manager.waiting_for_race_director_executions % 40 == 0) {

			//Pressure

			int normalized = manager.pressure_value;

			printf("Track pressure update: %d mBar \r\n", normalized);

			//Temperature

			float temp_value = manager.temperature_value;
			int tmpInt1 = temp_value;
			float tmpFraction = temp_value - tmpInt1;
			int tmpInt2 = trunc(tmpFraction * 100);

			printf("Track temperature update: %d.%02d C\r\n", tmpInt1, tmpInt2);

			//Humidity

			uint8_t hmd = manager.humidity_value;

			printf("Track humidity update: %d %%\r\n\n", hmd);
		}

		osMutexRelease(managerMutexHandle);

		osDelayUntil(&last_tick_time, OS_DELAY_STANDARD);

	}
	/* USER CODE END startTrackDataPrintTask */
}

void startUserButtonTask(void const * argument)
{
	/* USER CODE BEGIN startUserButtonTask */

	//Questo è il task che indica all'utente che per iniziare la gara deve premere il pulsante USER sulla scheda
	//La pressione del tasto è gestita tramite un semaforo binario ed è intercettata tramite la callback HAL_GPIO_EXTI_Callback
	//La logica dopo l'avvenuta pressione del tasto è gestita anch'essa in un task chiamato startButtonInterruptTask

	TickType_t last_tick_time = xTaskGetTickCount();

	/* Infinite loop */
	for(;;)
	{
		osMutexWait(managerMutexHandle, MUTEX_WAIT_TIMEOUT);

		if (manager.status == WAITING_FOR_GREEN_LIGHT && manager.waiting_for_race_director_executions % 20 == 0) {

			//Callback is handled in the HAL_GPIO_EXTI_Callback method

			printf("Press the USER button to start the Grand Prix...\r\n\n");

			if (manager.waiting_for_race_director_executions == 200) {

				manager.waiting_for_race_director_executions = 0;
			}
		}

		manager.waiting_for_race_director_executions++;

		osMutexRelease(managerMutexHandle);

		osDelayUntil(&last_tick_time, OS_DELAY_STANDARD);
	}
	/* USER CODE END startUserButtonTask */
}

void startProximitySensorTask(void const * argument)
{
	/* USER CODE BEGIN startProximitySensorTask */

	//Questo task ha il compito di recuperare l'informazione aggiornata sul sensore di prossimità
	//se si è in modalità PIT STOP

	TickType_t last_tick_time = xTaskGetTickCount();

	/* Infinite loop */
	for(;;)
	{
		osMutexWait(managerMutexHandle, MUTEX_WAIT_TIMEOUT);

		if (manager.status == PIT_STOP) {

			uint8_t proximity_value = 0;

			proximity_value = VL53L0X_PROXIMITY_GetDistance();

			manager.proximity = proximity_value;
		}

		osMutexRelease(managerMutexHandle);

		osDelayUntil(&last_tick_time, OS_DELAY_STANDARD);
	}
	/* USER CODE END startProximitySensorTask */
}

void startRaceDataPrintTask(void const * argument)
{
	/* USER CODE BEGIN startRaceDataPrintTask */

	//Questo task stampa la pista, gli avversari, la posizione attuale dell'auto
	//In caso di PIT stop stampa i dati relativi
	//In caso di gara terminata, stampa il relativo messaggio

	TickType_t last_tick_time = xTaskGetTickCount();

	/* Infinite loop */
	for(;;)
	{
		osMutexWait(managerMutexHandle, MUTEX_WAIT_TIMEOUT);

		if (manager.status == RACING) {

			printf("\033[2J"); //Pulisce il terminale

			if (manager.race_executions % 10 == 0 || manager.last_opponent_value != -1) {

				if (manager.opponent_executions < 7) {

					manager.last_opponent_value = manager.last_opponent_value != -1 ? manager.last_opponent_value : rand() % 16;

					manager.opponent_executions++;

					for (uint8_t i = 0; i < 7; i++) {

						if (i == manager.opponent_executions) {

							printf(computeTrackOpponent(manager.last_opponent_value));

						} else {

							printf(getClearTrackString());
						}
					}

				} else {

					manager.last_opponent_value = -1;
					manager.opponent_executions = 0;

					for (uint8_t i = 0; i < 7; i++) {

						printf(getClearTrackString());
					}
				}

			} else {

				for (uint8_t i = 0; i < 7; i++) {

					printf(getClearTrackString());
				}

				manager.last_opponent_value = -1;
			}

			printf(computeCurrentCarPosition(manager.accelerometer_value.x));

			manager.race_executions++;

			if (manager.race_executions == 150) {

				printf("Chequered flag, good job!\r\n\n");

				manager.race_executions = 0;

				manager.status = WAITING_FOR_GREEN_LIGHT;

				BSP_LED_Off(LED2);
			}

		} else if (manager.status == PIT_STOP) {

			if (manager.proximity > 100 && manager.proximity < 200) {

				printf("Hold steady...!\r\n\n");

				printf(performPitStop());

				manager.pit_stop_executions++;

			} else {

				printf("Keep your hands on the wheel!\r\n\n");
			}

			if (manager.pit_stop_executions == 20) {

				manager.pit_stop_executions = 0 ;

				manager.status = RACING;

				printf("GO GO GO!\r\n\n");
			}
		}

		osMutexRelease(managerMutexHandle);

		osDelayUntil(&last_tick_time, OS_DELAY_STANDARD);
	}
	/* USER CODE END startRaceDataPrintTask */
}

void startAccelerometerTask(void const * argument)
{
	/* USER CODE BEGIN startAccelerometerTask */

	//Questo task aggiorna le informazioni ricevute dall'accelerometro se la gara è in corso

	TickType_t last_tick_time = xTaskGetTickCount();

	/* Infinite loop */
	for(;;)
	{
		osMutexWait(managerMutexHandle, MUTEX_WAIT_TIMEOUT);

		if (manager.status == RACING) {

			BSP_MOTION_SENSOR_Axes_t  acc_value = {0, 0, 0};

			BSP_MOTION_SENSOR_GetAxes(INSTANCE_GYROSCOPE_ACCELEROMETER, MOTION_ACCELERO, &acc_value);

			manager.accelerometer_value = acc_value;
		}

		osMutexRelease(managerMutexHandle);

		osDelayUntil(&last_tick_time, OS_DELAY_STANDARD);
	}
	/* USER CODE END startAccelerometerTask */
}

void startTemperatureSensorTask(void const * argument)
{
	/* USER CODE BEGIN startTemperatureSensorTask */

	//Questo task aggiorna le informazioni relative alla temperatura della pista se si è in attesa della partenza

	TickType_t last_tick_time = xTaskGetTickCount();

	/* Infinite loop */
	for(;;)
	{
		osMutexWait(managerMutexHandle, MUTEX_WAIT_TIMEOUT);

		if (manager.status == WAITING_FOR_GREEN_LIGHT) {

			manager.temperature_value = BSP_TSENSOR_ReadTemp();
		}

		osMutexRelease(managerMutexHandle);

		osDelayUntil(&last_tick_time, OS_DELAY_STANDARD);
	}
	/* USER CODE END startTemperatureSensorTask */
}

void startHumiditySensorTask(void const * argument)
{
	/* USER CODE BEGIN startHumiditySensorTask */

	//Questo task aggiorna le informazioni relative all'umidità della pista se si è in attesa della partenza

	TickType_t last_tick_time = xTaskGetTickCount();

	/* Infinite loop */
	for(;;)
	{
		osMutexWait(managerMutexHandle, MUTEX_WAIT_TIMEOUT);

		if (manager.status == WAITING_FOR_GREEN_LIGHT) {

			manager.humidity_value = BSP_HSENSOR_ReadHumidity();
		}

		osMutexRelease(managerMutexHandle);

		osDelayUntil(&last_tick_time, OS_DELAY_STANDARD);
	}
	/* USER CODE END startHumiditySensorTask */
}

void startPressureSensorTask(void const * argument)
{
	/* USER CODE BEGIN startPressureSensorTask */

	//Questo task aggiorna le informazioni relative alla pressione della pista se si è in attesa della partenza

	TickType_t last_tick_time = xTaskGetTickCount();

	/* Infinite loop */
	for(;;)
	{
		osMutexWait(managerMutexHandle, MUTEX_WAIT_TIMEOUT);

		if (manager.status == WAITING_FOR_GREEN_LIGHT) {

			manager.pressure_value = BSP_PSENSOR_ReadPressure();
		}

		osMutexRelease(managerMutexHandle);

		osDelayUntil(&last_tick_time, OS_DELAY_STANDARD);
	}
	/* USER CODE END startPressureSensorTask */
}

void startButtonInterruptTask(void const * argument)
{
	/* USER CODE BEGIN startButtonInterruptTask */

	//Questo task gestisce il semaforo rilasciato alla pressione del pulsante USER e gestisce lo stato della gara

	TickType_t last_tick_time = xTaskGetTickCount();

	/* Infinite loop */
	for(;;)
	{
		osSemaphoreWait(userButtonInterruptSemaphoreHandle, MUTEX_WAIT_TIMEOUT);

		osMutexWait(managerMutexHandle, MUTEX_WAIT_TIMEOUT);

		if (manager.status == WAITING_FOR_GREEN_LIGHT) {

			manager.status = RACING;

			printf("Green light!\r\n\n");

		} else if (manager.status == RACING) {

			manager.status = PIT_STOP;

			printf("------- PIT STOP -------\r\n\n");

		} else {

			manager.status = WAITING_FOR_GREEN_LIGHT;

			manager.waiting_for_race_director_executions = 0;

			BSP_LED_Off(LED2);

			printf("We need to retire the car! Sorry.\r\n\n");
		}

		osMutexRelease(managerMutexHandle);

		osDelayUntil(&last_tick_time, OS_DELAY_STANDARD);
	}
	/* USER CODE END startButtonInterruptTask */
}

void HAL_TIM_PeriodElapsedCallback(TIM_HandleTypeDef *htim)
{
	if (htim->Instance == TIM6) {
		HAL_IncTick();
	}
}

void Error_Handler(void)
{
	__disable_irq();
	while (1)
	{
	}
}
